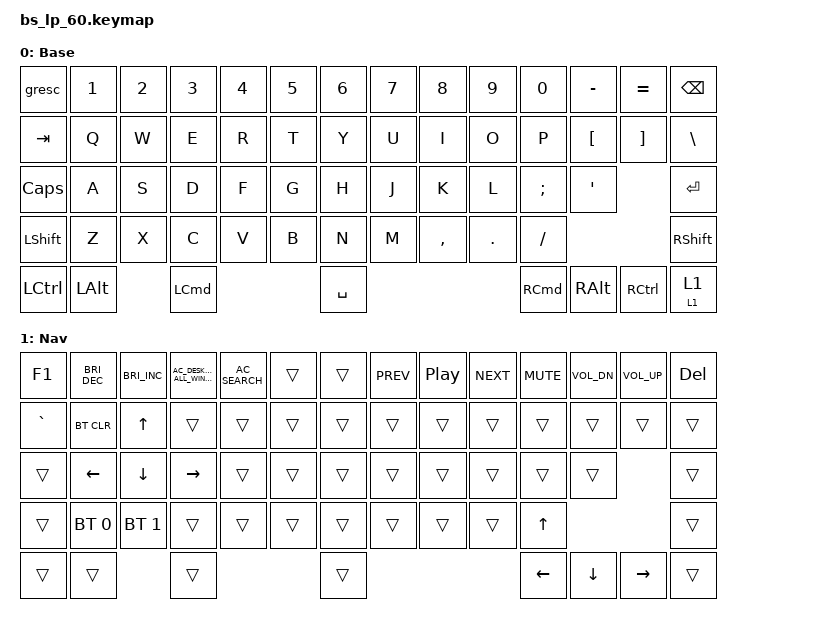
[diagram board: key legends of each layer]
/*
 * Copyright (c) 2021 Cole Smith
 *
 * SPDX-License-Identifier: MIT
 */

#include <dt-bindings/zmk/reset.h>
#include <behaviors.dtsi>
#include <dt-bindings/zmk/bt.h>
#include <dt-bindings/zmk/keys.h>

#define BAS_L 0
#define NAV_L 1

/ {
    behaviors {
        tap_hold_layer: tap_hold_layer {
            compatible = "zmk,behavior-hold-tap";
            label = "TAP_HOLD_LAYER";
            bindings = <&mo>, <&tog>;

            #binding-cells = <2>;
            tapping-term-ms = <200>;
        };
    };

    keymap {
        compatible = "zmk,keymap";

        default_layer {
            // ------------------------------------------------------------------------------------------
            // | ESC |  1  |  2  |  3  |  4  |  5  |  6  |  7  |  8  |  9  |  0  |  -  |  =  |   BKSP   |
            // | TAB  |  Q  |  W  |  E  |  R  |  T  |  Y  |  U  |  I  |  O  |  P  |  [  |  ]  |   "|"   |
            // | CAPS  |  A  |  S  |  D  |  F  |  G  |  H  |  J  |  K  |  L  |  ;  |  '  |     ENTER    |
            // |  SHIFT  |  Z  |  X  |  C  |  V  |  B  |  N  |  M  |  ,  |  .  |  /  |      SHIFT       |
            // |  CTL  |  WIN  |  ALT  |            SPACE              |  ALT  |  WIN  |  MO(1) |  CTL  |
            // ------------------------------------------------------------------------------------------

            label = "Base";
            bindings = <
&gresc     &kp N1        &kp N2  &kp N3    &kp N4  &kp N5  &kp N6     &kp N7  &kp N8     &kp N9   &kp N0    &kp MINUS      &kp EQUAL          &kp BSPC
&kp TAB    &kp Q         &kp W   &kp E     &kp R   &kp T   &kp Y      &kp U   &kp I      &kp O    &kp P     &kp LBKT       &kp RBKT           &kp BSLH
&kp CLCK   &kp A         &kp S   &kp D     &kp F   &kp G   &kp H      &kp J   &kp K      &kp L    &kp SEMI  &kp SQT                           &kp RET
&kp LSHFT  &kp Z         &kp X   &kp C     &kp V   &kp B   &kp N      &kp M   &kp COMMA  &kp DOT  &kp FSLH                                    &kp RSHFT
&kp LCTRL  &kp LEFT_ALT          &kp LCMD                  &kp SPACE                              &kp RCMD  &kp RIGHT_ALT  &kp RIGHT_CONTROL  &tap_hold_layer 1 1
            >;
        };

        ble_layer {
            // ------------------------------------------------------------------------------------------------
            // | BT CLR | F1  | F2  | F3  | F4  | F5  | F6  | F7  | F8  | F9  | F10  | F11 | F12 |            |
            // |  BT 1   |   |  UP |   |       |       |       |       |   |     |    |     |     |           |
            // |   BT 2   | LT |  DN  | RT |       |       |       |       |   |     |   |     |              |
            // |    BT 3     |     |      |      |     |     |     |     |     |     |     |                  |
            // |   BT 4  |      |      |                                    | PRT SCR |       |       |  DEL  |
            // ------------------------------------------------------------------------------------------------

            label = "Nav";
            bindings = <
&kp F1     &kp C_BRIGHTNESS_DEC  &kp C_BRIGHTNESS_INC  &kp C_AC_DESKTOP_SHOW_ALL_WINDOWS  &kp C_AC_SEARCH  &trans  &trans  &kp C_PREV  &kp C_PLAY_PAUSE  &kp C_NEXT  &kp C_MUTE      &kp C_VOL_DN    &kp C_VOL_UP     &kp DELETE
&kp GRAVE  &bt BT_CLR            &kp UP                &trans                             &trans           &trans  &trans  &trans      &trans            &trans      &trans          &trans          &trans           &trans
&trans     &kp LEFT              &kp DOWN              &kp RIGHT                          &trans           &trans  &trans  &trans      &trans            &trans      &trans          &trans                           &trans
&trans     &bt BT_SEL 0          &bt BT_SEL 1          &trans                             &trans           &trans  &trans  &trans      &trans            &trans      &kp UP_ARROW                                     &trans
&trans     &trans                                      &trans                                                      &trans                                            &kp LEFT_ARROW  &kp DOWN_ARROW  &kp RIGHT_ARROW  &trans
            >;
        };
    };
};
